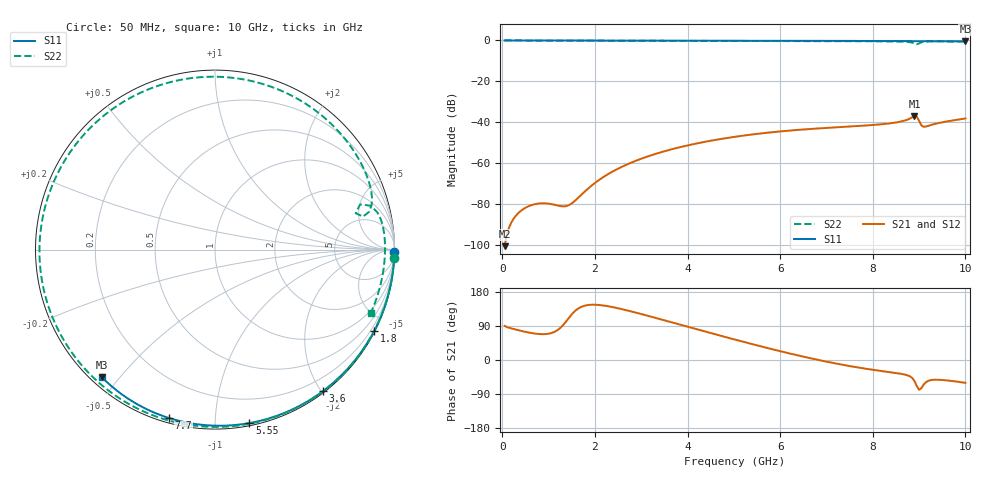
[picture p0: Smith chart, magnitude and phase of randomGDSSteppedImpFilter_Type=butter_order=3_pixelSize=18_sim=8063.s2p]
! freq	dB(S11)	phase(S11)	dB(S12)	phase(S12)
!  dB(S21)	phase(S21)	dB(S22)	phase(S22)
!S-par simulation data
#  GHz  S  DB  R 50
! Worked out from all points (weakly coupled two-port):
!   200 points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, 50 MHz to 10 GHz, reference 50 ohm
!   highest |S21| = -37.00 dB at 8.9 GHz (marker M1); lowest = -100.5 dB at 50 MHz (marker M2)
!   lowest |S11| = -0.4 dB at 10 GHz (marker M3), VSWR 39.06, Z = 1.54 - j22.4 ohm
!   |S11| at or under -10 dB: nowhere
!   |S22| runs from -1.8 to 0.0 dB; largest |S21 - S12| = 0
!   S11 on the Smith chart (normalised r, x): 50 MHz: open; 1.8 GHz: 0.04, -4.17; 3.6 GHz: 0.02, -2.02; 5.55 GHz: 0.02, -1.22; 7.7 GHz: 0.02, -0.76; 10 GHz: 0.03, -0.45
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0.05  -0.00 -0.8  -100.50 90.0  -100.50 90.0  -0.00 -2.7
0.4  -0.01 -6.1  -83.27 77.0  -83.27 77.0  -0.03 -21.3
0.8  -0.02 -12.1  -79.64 68.5  -79.64 68.5  -0.05 -42.0
1.45  -0.03 -21.8  -80.32 113.1  -80.32 113.1  -0.09 -73.7
1.75  -0.03 -26.2  -74.46 142.2  -74.46 142.2  -0.10 -87.4
1.8  -0.03 -27.0  -73.41 143.9  -73.41 143.9  -0.10 -89.6
2.45  -0.05 -36.5  -63.22 137.8  -63.22 137.8  -0.13 -116.9
3.4  -0.07 -50.0  -54.80 108.1  -54.80 108.1  -0.16 -152.6
3.6  -0.07 -52.8  -53.52 101.4  -53.52 101.4  -0.17 -159.6
4.3  -0.09 -62.3  -49.85 77.8  -49.85 77.8  -0.20 176.3
5.05  -0.11 -72.3  -46.98 53.0  -46.98 53.0  -0.23 151.1
5.55  -0.13 -78.8  -45.51 37.1  -45.51 37.1  -0.26 134.3
6.15  -0.15 -86.4  -44.14 18.9  -44.14 18.9  -0.29 113.7
6.7  -0.18 -93.2  -43.17 3.4  -43.17 3.4  -0.32 94.5
7.7  -0.24 -105.2  -41.78 -20.1  -41.78 -20.1  -0.38 58.4
8.35  -0.29 -112.8  -40.56 -31.8  -40.56 -31.8  -0.46 34.2
8.75  -0.32 -117.4  -38.67 -40.4  -38.67 -40.4  -0.72 18.2
8.9  -0.33 -119.1  -37.00 -55.2  -37.00 -55.2  -1.46 12.6
8.95  -0.34 -119.7  -37.20 -68.5  -37.20 -68.5  -1.83 14.5
9.1  -0.35 -121.4  -42.21 -64.7  -42.21 -64.7  -0.65 12.9
9.45  -0.39 -125.4  -40.21 -52.3  -40.21 -52.3  -0.48 -2.5
10  -0.44 -131.6  -38.13 -60.3  -38.13 -60.3  -0.57 -22.2
